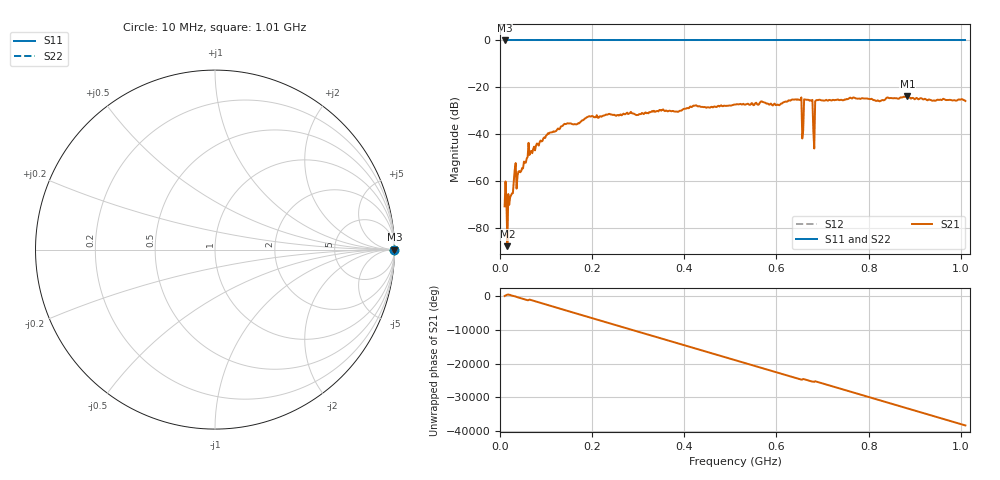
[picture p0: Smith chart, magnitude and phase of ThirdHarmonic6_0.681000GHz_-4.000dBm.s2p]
! 8/15/2025 10:42:03 PM
! C:\ANRITSUVNA\TEMP\TEMP.S2P
! CHANNEL.1
! TR.MEASUREMENT
! RAW.DATA
! RF.CORRECTION.OFF
! AVERAGING.OFF
! IF.BANDWIDTH: 5KHZ
! SWEEPTYPE:  FREQ.SWEEP(Linear)
! Reference Plane Port Info
! PORT:  PORT1  PORT2
! DISTANCE:  0  m  0  m
! TIME:  0  s  0  s
! PHASE.OFFSET:  0  deg.  0  deg.
! LOSS:  0  dB  0  dB
! REF.LOSS:  0  dB  0  dB
! REF.FREQ:  0  Hz  0  Hz
! Power Info
! POWER:  -20  dBm  -20  dBm
! EFF.POWER:  -20  dBm  -20  dBm
! SOURCE.ATTEN:  0  dB  0  dB
! TEST.ATTEN:  0  dB  0  dB
# GHZ S RI R 50.0
! FREQ.GHZ  S11RE  S11IM  S21RE  S21IM  S12RE  S12IM  S22RE  S22IM
!; PortSelection: Port_12
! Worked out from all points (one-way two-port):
!   501 points, 10 MHz to 1.01 GHz, reference 50 ohm
!   highest |S21| = -23.65 dB at 884 MHz (marker M1); lowest = -87.7 dB at 16 MHz (marker M2)
!   lowest |S11| = 0.0 dB at 10 MHz (marker M3)
!   |S11| at or under -10 dB: nowhere
!   |S22| runs from 0.0 to 0.0 dB; largest |S21 - S12| = 1.1
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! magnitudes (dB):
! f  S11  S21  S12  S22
! 10 MHz  0.0  -70.8  0.0  0.0
! 16 MHz  0.0  -87.7  0.0  0.0
! 20 MHz  0.0  -70.1  0.0  0.0
! 34 MHz  0.0  -52.3  0.0  0.0
! 40 MHz  0.0  -55.9  0.0  0.0
! 64 MHz  0.0  -48.8  0.0  0.0
! 106 MHz  0.0  -39.8  0.0  0.0
! 178 MHz  0.0  -34.1  0.0  0.0
! 344 MHz  0.0  -30.3  0.0  0.0
! 510 MHz  0.0  -27.3  0.0  0.0
! 650 MHz  0.0  -25.3  0.0  0.0
! 654 MHz  0.0  -24.3  0.0  0.0
! 660 MHz  0.0  -25.1  0.0  0.0
! 666 MHz  0.0  -25.3  0.0  0.0
! 674 MHz  0.0  -25.5  0.0  0.0
! 678 MHz  0.0  -25.3  0.0  0.0
! 684 MHz  0.0  -25.9  0.0  0.0
! 688 MHz  0.0  -25.4  0.0  0.0
! 690 MHz  0.0  -25.5  0.0  0.0
! 844 MHz  0.0  -24.6  0.0  0.0
! 884 MHz  0.0  -23.7  0.0  0.0
! 1.01 GHz  0.0  -25.8  0.0  0.0
